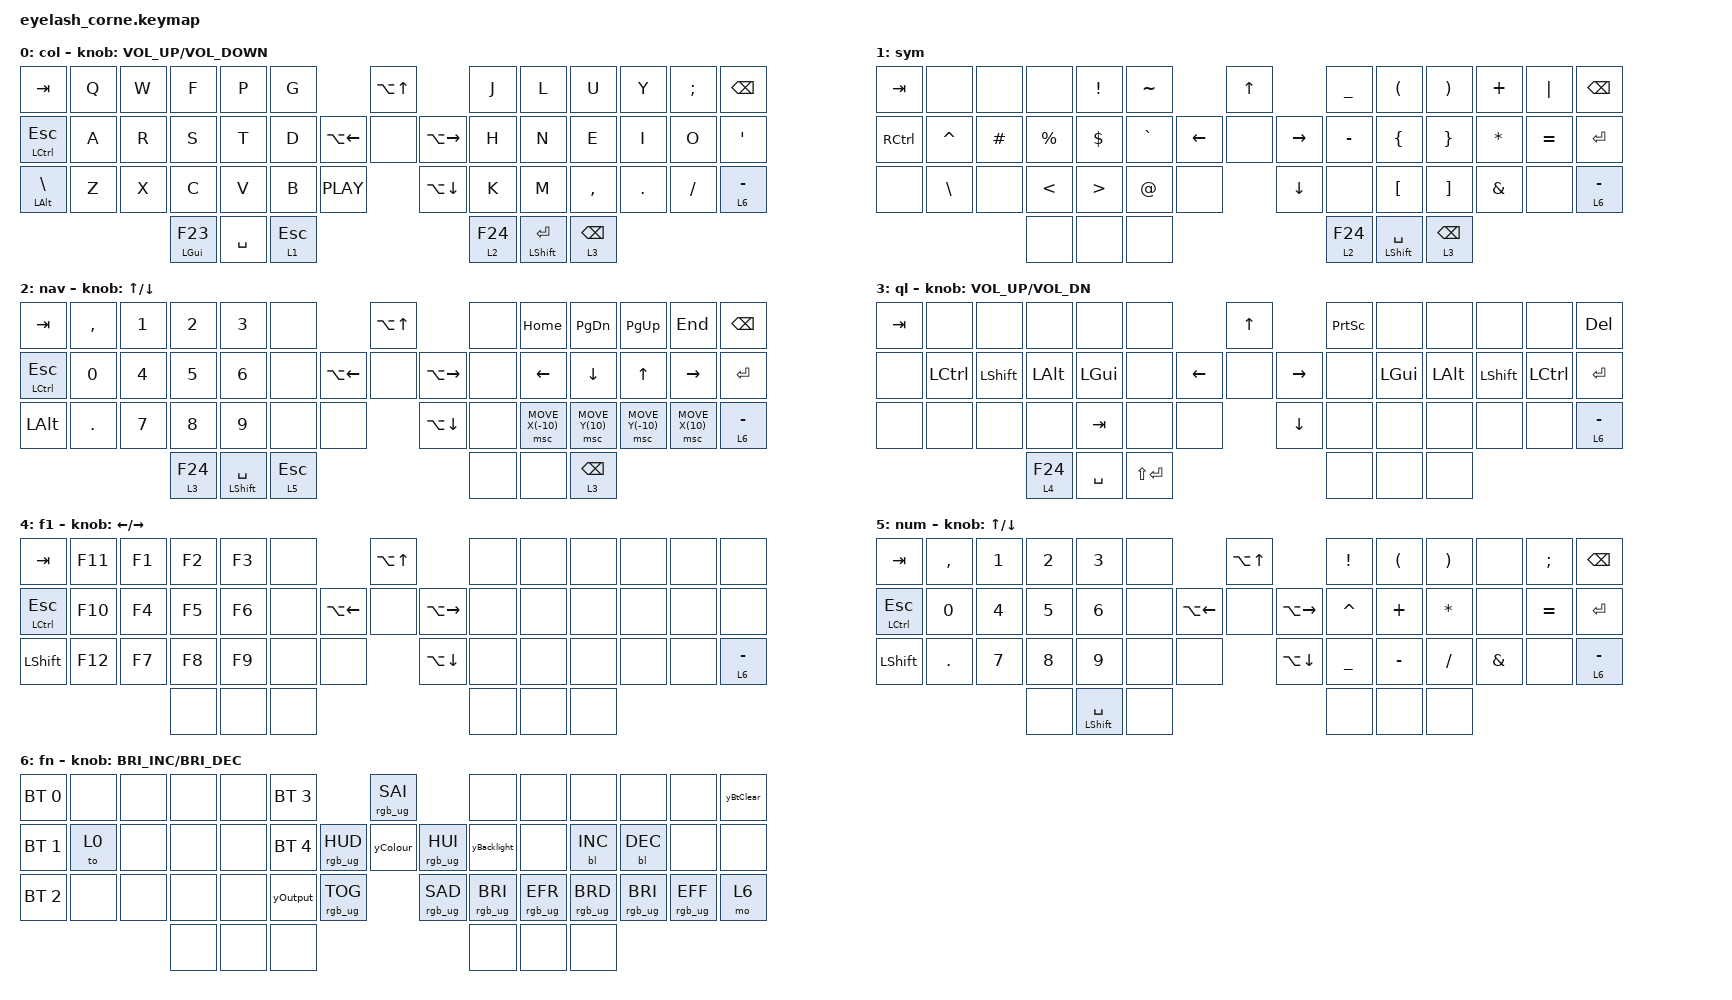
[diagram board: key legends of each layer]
#include <dt-bindings/zmk/mouse.h>
#include <input/processors.dtsi>
#include <behaviors.dtsi>
#include <dt-bindings/zmk/backlight.h>
#include <dt-bindings/zmk/bt.h>
#include <dt-bindings/zmk/ext_power.h>
#include <dt-bindings/zmk/keys.h>
#include <dt-bindings/zmk/outputs.h>
#include <dt-bindings/zmk/pointing.h>
#include <dt-bindings/zmk/rgb.h>

/*

   &mmv_input_listener {
   input-processors = <&zip_xy_scaler 2 1>;
   };

   &msc_input_listener {
   input-processors = <&zip_xy_scaler 2 1>;
   };


 */

#define ZMK_MOUSE_DEFAULT_MOVE_VAL 1200  // 600
#define ZMK_MOUSE_DEFAULT_SCRL_VAL 20    // 10

/ {
    behaviors {
    };

    scroll_encoder: scroll_encoder {
        compatible = "zmk,behavior-sensor-rotate";
        #sensor-binding-cells = <0>;
        bindings = <&msc SCRL_DOWN>, <&msc SCRL_UP>;

        tap-ms = <30>;
    };

    zHomeMod: zHomeMod {
        compatible = "zmk,behavior-hold-tap";
        label = "ZHOMEMOD";
        bindings = <&kp>, <&kp>;

        #binding-cells = <2>;
        tapping-term-ms = <250>;
        quick-tap-ms = <200>;
        flavor = "tap-preferred";
        require-prior-idle-ms = <130>;
    };

    zHomeLayer: zHomeLayer {
        compatible = "zmk,behavior-hold-tap";
        label = "ZHOMELAYER";
        bindings = <&mo>, <&kp>;

        #binding-cells = <2>;
        tapping-term-ms = <250>;
        quick-tap-ms = <200>;
        flavor = "tap-preferred";
        require-prior-idle-ms = <130>;
    };

    yOutput: yOutput {
        compatible = "zmk,behavior-tap-dance";
        label = "YOUTPUT";
        #binding-cells = <0>;
        tapping-term-ms = <300>;
        bindings = <&out OUT_BLE>, <&out OUT_USB>;
    };

    zFastLayer: zFastLayer {
        compatible = "zmk,behavior-hold-tap";
        label = "ZFASTLAYER";
        bindings = <&mo>, <&kp>;

        #binding-cells = <2>;
        hold-while-undecided;
        tapping-term-ms = <200>;
    };

    yPower: yPower {
        compatible = "zmk,behavior-tap-dance";
        label = "YPOWER";
        #binding-cells = <0>;
        bindings = <&ext_power EP_ON>, <&ext_power EP_OFF>;

        tapping-term-ms = <300>;
    };

    yBtClear: yBtClear {
        compatible = "zmk,behavior-tap-dance";
        label = "YBTCLEAR";
        #binding-cells = <0>;
        tapping-term-ms = <300>;
        bindings = <&none>, <&none>, <&bt BT_CLR>;
    };

    zFast_Mod: zFast_Mod {
        compatible = "zmk,behavior-hold-tap";
        label = "ZFAST_MOD";
        bindings = <&kp>, <&kp>;

        #binding-cells = <2>;
        tapping-term-ms = <200>;
        hold-while-undecided;
    };

    yOff: yOff {
        compatible = "zmk,behavior-tap-dance";
        label = "YOFF";
        #binding-cells = <0>;
        bindings = <&kp LG(L)>, <&soft_off>;

        tapping-term-ms = <300>;
    };

    yBacklight: yBacklight {
        compatible = "zmk,behavior-tap-dance";
        label = "YBACKLIGHT";
        #binding-cells = <0>;
        bindings = <&bl BL_ON>, <&bl BL_OFF>;
    };

    yColour: yColour {
        compatible = "zmk,behavior-tap-dance";
        label = "YCOLOUR";
        #binding-cells = <0>;
        tapping-term-ms = <300>;
        bindings =
            <&rgb_ug RGB_COLOR_HSB(0,0,58)>,
            <&rgb_ug RGB_COLOR_HSB(269,87,84)>,
            <&rgb_ug RGB_COLOR_HSB(173,36,27)>;
    };

    combos { compatible = "zmk,combos"; };

    keymap {
        compatible = "zmk,keymap";

        colemak {
            display-name = "col";
            bindings = <
&kp TAB                        &kp Q  &kp W  &kp F                    &kp P      &kp G                                          &kp LA(UP)                   &kp J              &kp L                        &kp U                    &kp Y    &kp SEMI  &kp BSPC
&zFast_Mod LCTRL ESCAPE        &kp A  &kp R  &kp S                    &kp T      &kp D                            &kp LA(LEFT)  &none         &kp LA(RIGHT)  &kp H              &kp N                        &kp E                    &kp I    &kp O     &kp SQT
&zFast_Mod LEFT_ALT BACKSLASH  &kp Z  &kp X  &kp C                    &kp V      &kp B              &kp C_PLAY                  &kp LA(DOWN)                 &kp K              &kp M                        &kp COMMA                &kp DOT  &kp FSLH  &zFastLayer 6 MINUS
                                             &zFast_Mod LEFT_GUI F23  &kp SPACE  &zFastLayer 1 ESC                                                           &zFastLayer 2 F24  &zFast_Mod LEFT_SHIFT ENTER  &zFastLayer 3 BACKSPACE
            >;

            sensor-bindings = <&inc_dec_kp C_VOLUME_UP C_VOLUME_DOWN>;
        };

        Symbol {
            display-name = "sym";
            bindings = <
&kp TAB    &none      &none     &none          &kp EXCLAMATION   &kp TILDE                       &kp UP               &kp UNDERSCORE     &kp LEFT_PARENTHESIS         &kp RIGHT_PARENTHESIS    &kp PLUS       &kp PIPE   &kp BACKSPACE
&kp RCTRL  &kp CARET  &kp HASH  &kp PERCENT    &kp DOLLAR        &kp GRAVE             &kp LEFT  &none     &kp RIGHT  &kp MINUS          &kp LEFT_BRACE               &kp RIGHT_BRACE          &kp ASTERISK   &kp EQUAL  &kp ENTER
&none      &kp BSLH   &none     &kp LESS_THAN  &kp GREATER_THAN  &kp AT_SIGN  &none              &kp DOWN             &none              &kp LBKT                     &kp RBKT                 &kp AMPERSAND  &none      &zFastLayer 6 MINUS
                                &none          &none             &none                                                &zFastLayer 2 F24  &zFast_Mod LEFT_SHIFT SPACE  &zFastLayer 3 BACKSPACE
            >;
        };

        Navigation {
            display-name = "nav";
            bindings = <
&kp TAB                         &kp COMMA  &kp N1  &kp N2             &kp N3                       &none                                        &kp LA(UP_ARROW)                 &none  &kp HOME          &kp PAGE_DOWN            &kp PAGE_UP       &kp END          &kp BACKSPACE
&zFast_Mod LEFT_CONTROL ESCAPE  &kp N0     &kp N4  &kp N5             &kp N6                       &none                          &kp LA(LEFT)  &none             &kp LA(RIGHT)  &none  &kp LEFT          &kp DOWN                 &kp UP            &kp RIGHT        &kp ENTER
&kp LEFT_ALT                    &kp DOT    &kp N7  &kp N8             &kp N9                       &none                 &none                  &kp LA(DOWN)                     &none  &msc MOVE_X(-10)  &msc MOVE_Y(10)          &msc MOVE_Y(-10)  &msc MOVE_X(10)  &zFastLayer 6 MINUS
                                                   &zFastLayer 3 F24  &zFast_Mod LEFT_SHIFT SPACE  &zFastLayer 5 ESCAPE                                                          &none  &none             &zFastLayer 3 BACKSPACE
            >;

            sensor-bindings = <&inc_dec_kp UP_ARROW DOWN>;
        };

        Quick {
            display-name = "ql";
            bindings = <
&kp TAB  &none      &none      &none              &none      &none                             &kp UP               &kp PRINTSCREEN  &none     &none     &none      &none      &kp DELETE
&none    &kp LCTRL  &kp LSHFT  &kp LALT           &kp LGUI   &none                   &kp LEFT  &none     &kp RIGHT  &none            &kp LGUI  &kp LALT  &kp LSHFT  &kp LCTRL  &kp ENTER
&none    &none      &none      &none              &kp TAB    &none          &none              &kp DOWN             &none            &none     &none     &none      &none      &zFastLayer 6 MINUS
                               &zFastLayer 4 F24  &kp SPACE  &kp LS(ENTER)                                          &none            &none     &none
            >;

            sensor-bindings = <&inc_dec_kp C_VOL_UP C_VOL_DN>;
        };

        FKeys {
            display-name = "f1";
            bindings = <
&kp TAB                         &kp F11  &kp F1  &kp F2  &kp F3  &none                         &kp LA(UP)                   &none  &none  &none  &none  &none  &none
&zFast_Mod LEFT_CONTROL ESCAPE  &kp F10  &kp F4  &kp F5  &kp F6  &none           &kp LA(LEFT)  &none         &kp LA(RIGHT)  &none  &none  &none  &none  &none  &none
&kp LEFT_SHIFT                  &kp F12  &kp F7  &kp F8  &kp F9  &none  &none                  &kp LA(DOWN)                 &none  &none  &none  &none  &none  &zFastLayer 6 MINUS
                                                 &none   &none   &none                                                      &none  &none  &none
            >;

            sensor-bindings = <&inc_dec_kp LEFT RIGHT>;
        };

        NumSym {
            display-name = "num";
            bindings = <
&kp TAB                         &kp COMMA  &kp N1  &kp N2  &kp N3                       &none                         &kp LA(UP_ARROW)                 &kp EXCLAMATION  &kp LEFT_PARENTHESIS  &kp RIGHT_PARENTHESIS  &none          &kp SEMI   &kp BACKSPACE
&zFast_Mod LEFT_CONTROL ESCAPE  &kp N0     &kp N4  &kp N5  &kp N6                       &none           &kp LA(LEFT)  &none             &kp LA(RIGHT)  &kp CARET        &kp PLUS              &kp STAR               &none          &kp EQUAL  &kp ENTER
&kp LEFT_SHIFT                  &kp DOT    &kp N7  &kp N8  &kp N9                       &none  &none                  &kp LA(DOWN)                     &kp UNDERSCORE   &kp MINUS             &kp FSLH               &kp AMPERSAND  &none      &zFastLayer 6 MINUS
                                                   &none   &zFast_Mod LEFT_SHIFT SPACE  &none                                                          &none            &none                 &none
            >;

            sensor-bindings = <&inc_dec_kp UP_ARROW DOWN>;
        };

        Function {
            display-name = "fn";
            bindings = <
&bt BT_SEL 0  &none  &none  &none  &none  &bt BT_SEL 3                                      &rgb_ug RGB_SAI                   &none            &none            &none            &none            &none            &yBtClear
&bt BT_SEL 1  &to 0  &none  &none  &none  &bt BT_SEL 4                     &rgb_ug RGB_HUD  &yColour         &rgb_ug RGB_HUI  &yBacklight      &none            &bl BL_INC       &bl BL_DEC       &none            &none
&bt BT_SEL 2  &none  &none  &none  &none  &yOutput      &rgb_ug RGB_TOG                     &rgb_ug RGB_SAD                   &rgb_ug RGB_BRI  &rgb_ug RGB_EFR  &rgb_ug RGB_BRD  &rgb_ug RGB_BRI  &rgb_ug RGB_EFF  &mo 6
                            &none  &none  &none                                                                               &none            &none            &none
            >;

            sensor-bindings = <&inc_dec_kp C_BRIGHTNESS_INC C_BRIGHTNESS_DEC>;
        };
    };
};
